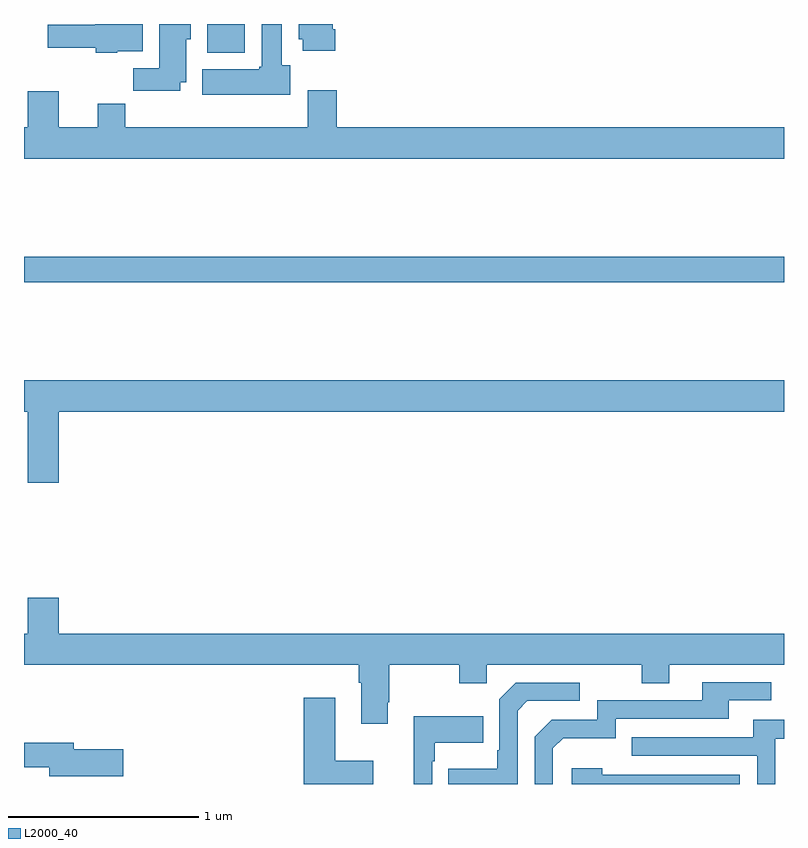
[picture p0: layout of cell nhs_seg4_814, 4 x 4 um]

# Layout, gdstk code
import gdstk
lib = gdstk.Library(unit=1e-6, precision=1e-09)
def R(c, l, rs):  # rectangles x0, y0, x1, y1
    for r in rs: c.add(gdstk.rectangle(r[:2], r[2:], *l))
def P(c, l, *ps):  # polygons
    for p in ps: c.add(gdstk.Polygon(p, *l))
L2000_40 = (2000, 40)

nhs_seg4_814 = lib.new_cell('nhs_seg4_814')
R(nhs_seg4_814, L2000_40, [(153,757.54,157,757.676), (153.965,758.75,154.162,758.9)])
P(nhs_seg4_814, L2000_40, [(153.823,758.594),(153.853,758.594),(153.853,758.82),(153.877,758.82),(153.877,758.9),(153.713,758.9),(153.713,758.668),(153.574,758.668),(153.574,758.55),(153.823,758.55)],
  [(154.402,758.682),(154.357,758.682),(154.357,758.9),(154.25,758.9),(154.25,758.676),(154.237,758.676),(154.237,758.662),(153.938,758.662),(153.938,758.528),(154.402,758.528)],
  [(153.492,758.756),(153.625,758.756),(153.625,758.9),(153.374,758.9),(153.374,758.896),(153.126,758.896),(153.126,758.774),(153.378,758.774),(153.378,758.75),(153.492,758.75)],
  [(154.637,758.872),(154.624,758.872),(154.624,758.9),(154.445,758.9),(154.445,758.82),(154.466,758.82),(154.466,758.76),(154.637,758.76)],
  [(157,758.356),(154.646,758.356),(154.646,758.551),(154.493,758.551),(154.493,758.356),(153.533,758.356),(153.533,758.48),(153.389,758.48),(153.389,758.356),(153.184,758.356),(153.184,758.545),(153.02,758.545),(153.02,758.356),(153,758.356),(153,758.192),(157,758.192)],
  [(153.184,756.86),(157,756.86),(157,757.024),(153,757.024),(153,756.86),(153.02,756.86),(153.02,756.486),(153.184,756.486)],
  [(154.915,755.329),(154.923,755.329),(154.923,755.528),(155.29,755.528),(155.29,755.429),(155.436,755.429),(155.436,755.528),(156.25,755.528),(156.25,755.429),(156.397,755.429),(156.397,755.528),(157,755.528),(157,755.692),(153.184,755.692),(153.184,755.881),(153.02,755.881),(153.02,755.692),(153,755.692),(153,755.528),(154.763,755.528),(154.763,755.432),(154.775,755.432),(154.775,755.217),(154.915,755.217)],
  [(155.784,755.088),(155.837,755.141),(156.114,755.141),(156.114,755.244),(156.709,755.244),(156.709,755.34),(156.934,755.34),(156.934,755.436),(156.569,755.436),(156.569,755.34),(156.018,755.34),(156.018,755.238),(155.778,755.238),(155.688,755.148),(155.688,754.9),(155.784,754.9)],
  [(155.598,755.286),(155.649,755.337),(155.926,755.337),(155.926,755.433),(155.589,755.433),(155.502,755.346),(155.502,755.077),(155.49,755.077),(155.49,754.981),(155.233,754.981),(155.233,754.9),(155.598,754.9)],
  [(154.837,755.023),(154.639,755.023),(154.639,755.353),(154.472,755.353),(154.472,754.9),(154.837,754.9)],
  [(155.148,755.021),(155.161,755.021),(155.161,755.117),(155.417,755.117),(155.417,755.257),(155.051,755.257),(155.051,754.9),(155.148,754.9)],
  [(156.954,755.139),(157,755.139),(157,755.239),(156.839,755.239),(156.839,755.145),(156.199,755.145),(156.199,755.049),(156.858,755.049),(156.858,754.9),(156.954,754.9)],
  [(153.523,755.082),(153.262,755.082),(153.262,755.116),(153,755.116),(153,754.987),(153.134,754.987),(153.134,754.94),(153.523,754.94)],
  [(156.768,754.95),(156.044,754.95),(156.044,754.984),(155.883,754.984),(155.883,754.9),(156.768,754.9)])

lib.write_gds('nhs_seg4_814.gds')
